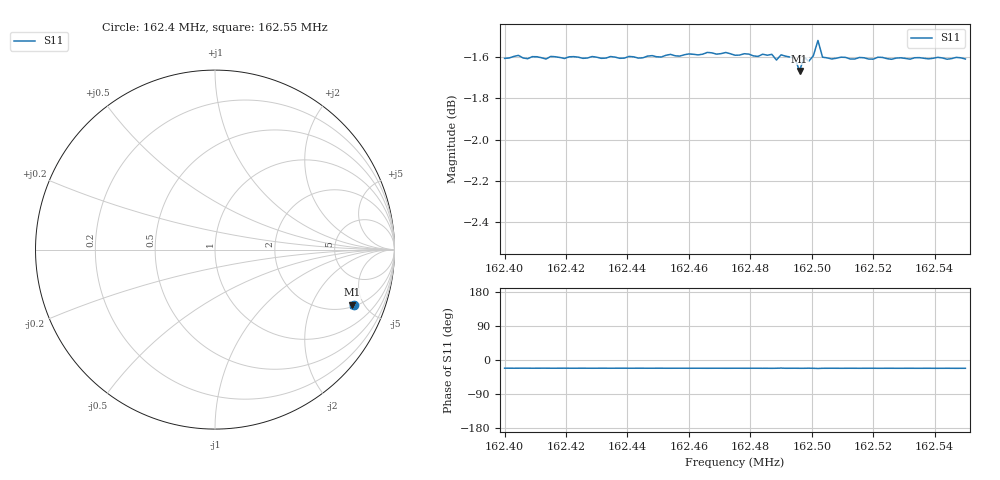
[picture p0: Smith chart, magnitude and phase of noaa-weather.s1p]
! Calibrated averaged scanner-service zoom
# Hz S RI R 50
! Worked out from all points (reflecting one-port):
!   101 points, 162.4 MHz to 162.55 MHz, reference 50 ohm
!   lowest |S11| = -1.7 dB at 162.496 MHz (marker M1), VSWR 10.46, Z = 107 - j206 ohm
!   phase of S11 starts at -22 deg and turns -0 deg over the sweep
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1.624e8  0.7728 -0.3061
1.62403e8  0.7731 -0.3079
1.624195e8  0.7726 -0.3065
1.624285e8  0.7728 -0.3085
1.624375e8  0.7726 -0.3067
1.624405e8  0.7729 -0.3084
1.62457e8  0.7733 -0.3077
1.62466e8  0.7743 -0.3099
1.62475e8  0.7735 -0.3083
1.62478e8  0.7737 -0.3098
1.624825e8  0.773 -0.3083
1.62487e8  0.7726 -0.3117
1.624885e8  0.7713 -0.3078
1.6249e8  0.7758 -0.3032
1.624915e8  0.7727 -0.3093
1.624945e8  0.7722 -0.3079
1.62496e8  0.7661 -0.3074
1.624975e8  0.772 -0.3096
1.62499e8  0.7715 -0.3058
1.625005e8  0.7725 -0.3102
1.62502e8  0.7765 -0.3194
1.625035e8  0.7721 -0.3096
1.625125e8  0.7717 -0.3081
1.6252e8  0.7716 -0.3082
1.625215e8  0.7719 -0.3099
1.62532e8  0.7715 -0.3085
1.62547e8  0.7715 -0.3107
1.6255e8  0.7713 -0.3091
